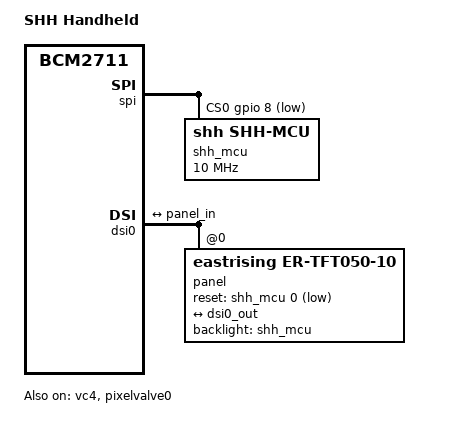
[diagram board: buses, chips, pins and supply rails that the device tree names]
// SPDX-License-Identifier: GPL-2.0
/dts-v1/;

#include <dt-bindings/gpio/gpio.h>
#include "bcm2711-rpi-cm4.dtsi"

/ {
	model = "SHH Handheld";

	compatible = "suya,shh",
				 "raspberrypi,4-compute-module",
				 "brcm,bcm2711";
};

&gpio {
	shh_spi0_pins: shh-spi0-pins {
		brcm,pins = <9 10 11>;
		brcm,function = <BCM2835_FSEL_ALT0>;
	};
};

spi0: &spi {
	pinctrl-names = "default";
	pinctrl-0 = <&shh_spi0_pins>;
	cs-gpios = <&gpio 8 GPIO_ACTIVE_LOW>;
	status = "okay";

	shh_mcu: mcu@0 {
		compatible = "shh,shh-mcu";
		reg = <0>;
		spi-max-frequency = <10000000>;
		gpio-controller;
		#gpio-cells = <2>;
		gpio-line-names = "LCD_RESET";
	};
};

&pcie0 {
	status = "disabled";
};

&i2s {
	pinctrl-names = "default";
	pinctrl-0 = <&pcm_gpio18>;
	status = "disabled";
};

&vc4 {
	status = "okay";
};

&pixelvalve0 {
	status = "okay";
};

&vec {
	status = "disabled";
};

&dsi0 {
	status = "okay";

	port {
		dsi0_out: endpoint {
			remote-endpoint = <&panel_in>;
		};
	};

	panel@0 {
		compatible = "eastrising,er-tft050-10", "ilitek,ili9881c";
		reg = <0>;
		reset-gpios = <&shh_mcu 0 GPIO_ACTIVE_LOW>;
		backlight = <&shh_mcu>;

		port {
			panel_in: endpoint {
				remote-endpoint = <&dsi0_out>;
			};
		};
	};
};

&sdhci {
	status = "disabled";
};

/ {
	aliases {
		mmc0 = &emmc2;
		mmc1 = &sdhci;
	};
};
